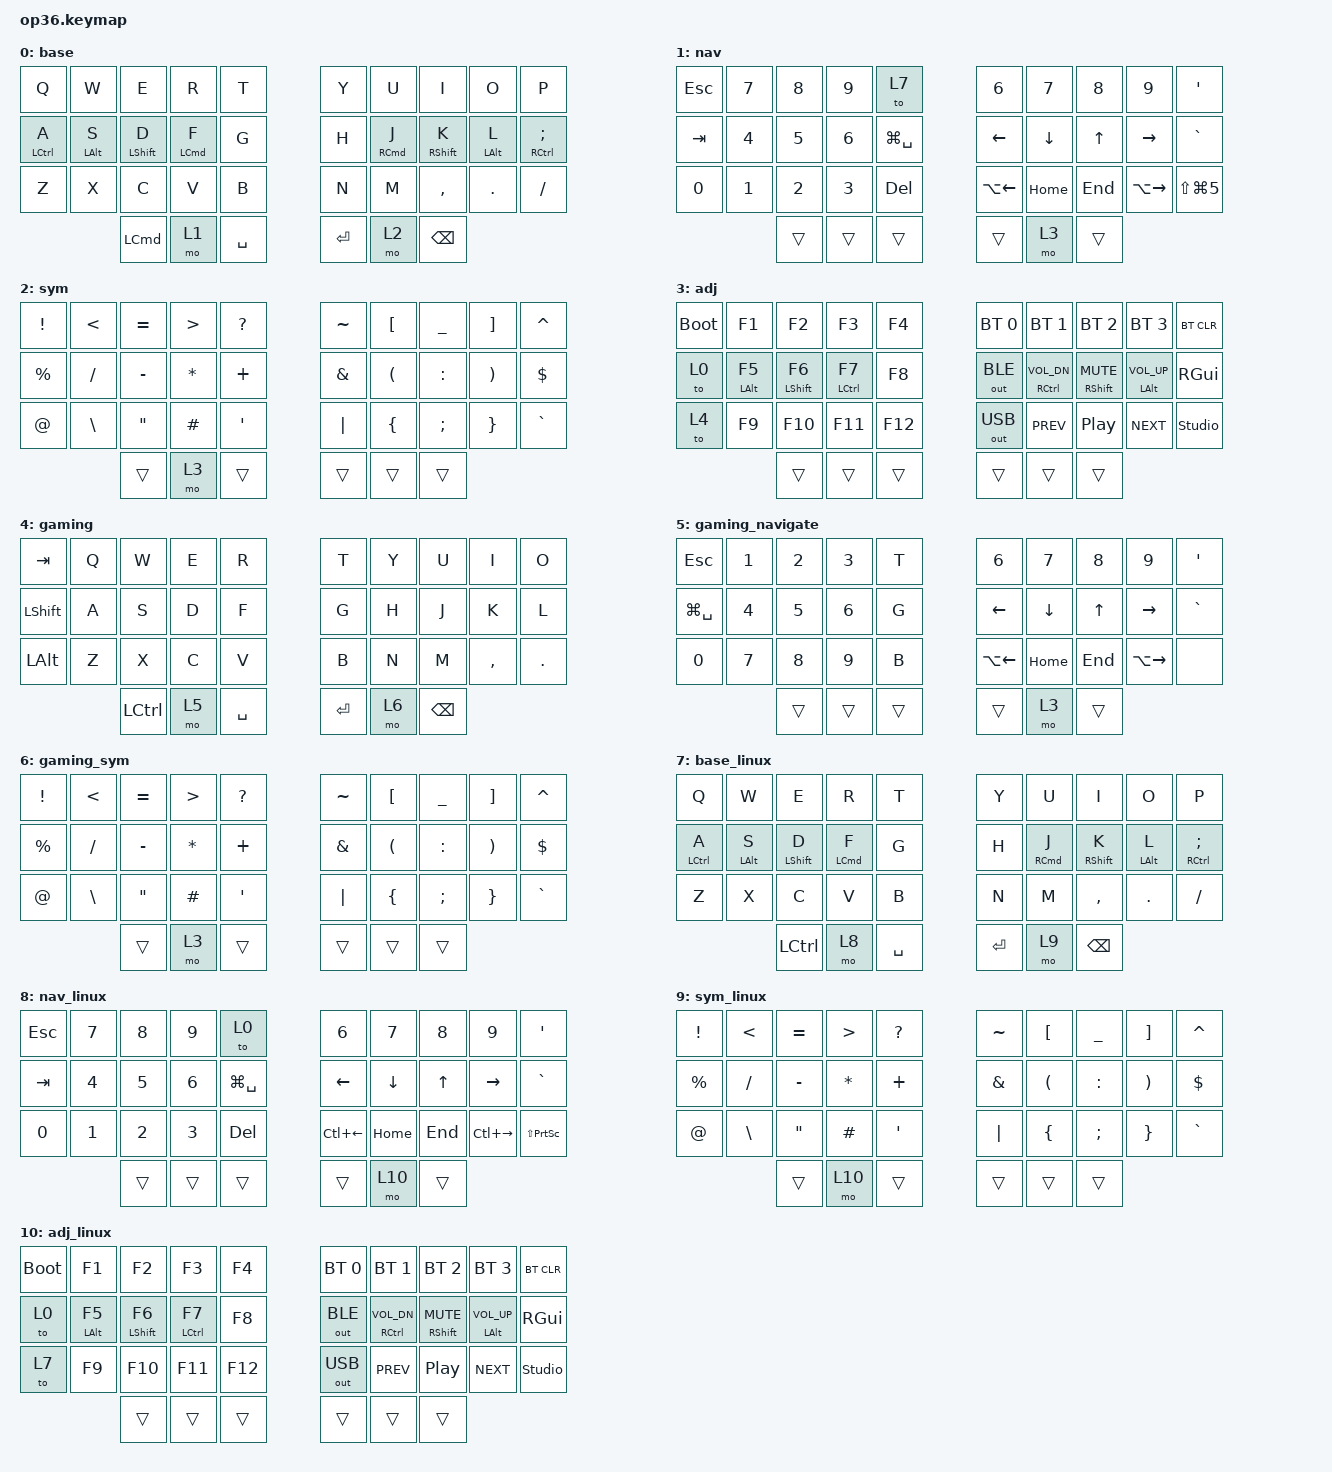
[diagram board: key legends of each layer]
#include <behaviors.dtsi>
#include <dt-bindings/zmk/bt.h>
#include <dt-bindings/zmk/keys.h>
#include <dt-bindings/zmk/outputs.h>

&mt {
    quick-tap-ms = <200>;
    flavor = "tap-preferred";
    require-prior-idle-ms = <125>;
};

/ {
    behaviors {
        hml: home_row_mod_left {
            compatible = "zmk,behavior-hold-tap";
            #binding-cells = <2>;
            flavor = "balanced";
            require-prior-idle-ms = <150>;
            tapping-term-ms = <280>;
            quick-tap-ms = <175>;
            bindings = <&kp>, <&kp>;

            hold-trigger-key-positions = <5 6 7 8 9 15 16 17 18 19 25 26 27 28 29 33 34 35>;
            hold-trigger-on-release;
        };

        hmr: home_row_mod_right {
            compatible = "zmk,behavior-hold-tap";
            #binding-cells = <2>;
            flavor = "balanced";
            require-prior-idle-ms = <150>;
            tapping-term-ms = <280>;
            quick-tap-ms = <175>;
            bindings = <&kp>, <&kp>;

            hold-trigger-key-positions = <0 1 2 3 4 10 11 12 13 14 20 21 22 23 24 30 31 32>;
            hold-trigger-on-release;
        };
    };

    combos {
        compatible = "zmk,combos";

        kha {
            bindings = <&kp LBKT>;
            key-positions = <6 7>;
        };

        hrdsgn {
            bindings = <&kp RBKT>;
            key-positions = <7 8>;
        };
    };

    keymap {
        compatible = "zmk,keymap";

        base {
            bindings = <
  &kp Q                &kp W        &kp E         &kp R                &kp T                          &kp Y  &kp U          &kp I         &kp O        &kp P
  &hml LEFT_CONTROL A  &hml LALT S  &hml LSHFT D  &hml LEFT_COMMAND F  &kp G                          &kp H  &hmr RCMD J    &hmr RSHFT K  &hmr LALT L  &hmr RCTRL SEMICOLON
  &kp Z                &kp X        &kp C         &kp V                &kp B                          &kp N  &kp M          &kp COMMA     &kp DOT      &kp SLASH
                                                  &kp LCMD             &mo 1  &kp SPACE    &kp ENTER  &mo 2  &kp BACKSPACE
            >;
        };

        nav {
            bindings = <
  &kp ESC  &kp N7  &kp N8  &kp N9  &to 7                            &kp N6          &kp N7          &kp N8        &kp N9               &kp SQT
  &kp TAB  &kp N4  &kp N5  &kp N6  &kp LG(SPACE)                    &kp LEFT_ARROW  &kp DOWN_ARROW  &kp UP_ARROW  &kp RIGHT            &kp GRAVE
  &kp N0   &kp N1  &kp N2  &kp N3  &kp DELETE                       &kp LA(LEFT)    &kp HOME        &kp END       &kp LA(RIGHT_ARROW)  &kp LS(LG(NUMBER_5))
                           &trans  &trans         &trans    &trans  &mo 3           &trans
            >;
        };

        sym {
            bindings = <
  &kp EXCLAMATION  &kp LT         &kp EQUAL          &kp GT        &kp QUESTION                    &kp TILDE      &kp LBKT              &kp UNDER      &kp RBKT               &kp CARET
  &kp PERCENT      &kp SLASH      &kp MINUS          &kp ASTERISK  &kp PLUS                        &kp AMPERSAND  &kp LEFT_PARENTHESIS  &kp COLON      &kp RIGHT_PARENTHESIS  &kp DOLLAR
  &kp AT_SIGN      &kp BACKSLASH  &kp DOUBLE_QUOTES  &kp HASH      &kp SQT                         &kp PIPE       &kp LEFT_BRACE        &kp SEMICOLON  &kp RIGHT_BRACE        &kp GRAVE
                                                     &trans        &mo 3         &trans    &trans  &trans         &trans
            >;
        };

        adj {
            bindings = <
  &bootloader  &kp F1        &kp F2         &kp F3         &kp F4                     &bt BT_SEL 0  &bt BT_SEL 1         &bt BT_SEL 2       &bt BT_SEL 3        &bt BT_CLR
  &to 0        &hml LALT F5  &hml LSHFT F6  &hml LCTRL F7  &kp F8                     &out OUT_BLE  &hmr RCTRL C_VOL_DN  &hmr RSHFT C_MUTE  &hmr LALT C_VOL_UP  &kp RGUI
  &to 4        &kp F9        &kp F10        &kp F11        &kp F12                    &out OUT_USB  &kp C_PREV           &kp C_PP           &kp C_NEXT          &studio_unlock
                                            &trans         &trans   &trans    &trans  &trans        &trans
            >;
        };

        gaming {
            bindings = <
  &kp TAB       &kp Q  &kp W  &kp E      &kp R                          &kp T  &kp Y          &kp U  &kp I      &kp O
  &kp LSHIFT    &kp A  &kp S  &kp D      &kp F                          &kp G  &kp H          &kp J  &kp K      &kp L
  &kp LEFT_ALT  &kp Z  &kp X  &kp C      &kp V                          &kp B  &kp N          &kp M  &kp COMMA  &kp DOT
                              &kp LCTRL  &mo 5  &kp SPACE    &kp ENTER  &mo 6  &kp BACKSPACE
            >;
        };

        gaming_navigate {
            bindings = <
  &kp ESC        &kp N1  &kp N2  &kp N3  &kp T                     &kp N6          &kp N7          &kp N8        &kp N9               &kp SQT
  &kp LG(SPACE)  &kp N4  &kp N5  &kp N6  &kp G                     &kp LEFT_ARROW  &kp DOWN_ARROW  &kp UP_ARROW  &kp RIGHT            &kp GRAVE
  &kp N0         &kp N7  &kp N8  &kp N9  &kp B                     &kp LA(LEFT)    &kp HOME        &kp END       &kp LA(RIGHT_ARROW)  &none
                                 &trans  &trans  &trans    &trans  &mo 3           &trans
            >;
        };

        gaming_sym {
            bindings = <
  &kp EXCLAMATION  &kp LT         &kp EQUAL          &kp GT        &kp QUESTION                    &kp TILDE      &kp LBKT              &kp UNDER      &kp RBKT               &kp CARET
  &kp PERCENT      &kp SLASH      &kp MINUS          &kp ASTERISK  &kp PLUS                        &kp AMPERSAND  &kp LEFT_PARENTHESIS  &kp COLON      &kp RIGHT_PARENTHESIS  &kp DOLLAR
  &kp AT_SIGN      &kp BACKSLASH  &kp DOUBLE_QUOTES  &kp HASH      &kp SQT                         &kp PIPE       &kp LEFT_BRACE        &kp SEMICOLON  &kp RIGHT_BRACE        &kp GRAVE
                                                     &trans        &mo 3         &trans    &trans  &trans         &trans
            >;
        };

        base_linux {
            bindings = <
  &kp Q                &kp W        &kp E         &kp R                &kp T                          &kp Y  &kp U          &kp I         &kp O        &kp P
  &hml LEFT_CONTROL A  &hml LALT S  &hml LSHFT D  &hml LEFT_COMMAND F  &kp G                          &kp H  &hmr RCMD J    &hmr RSHFT K  &hmr LALT L  &hmr RCTRL SEMICOLON
  &kp Z                &kp X        &kp C         &kp V                &kp B                          &kp N  &kp M          &kp COMMA     &kp DOT      &kp SLASH
                                                  &kp LCTRL            &mo 8  &kp SPACE    &kp ENTER  &mo 9  &kp BACKSPACE
            >;
        };

        nav_linux {
            bindings = <
  &kp ESC  &kp N7  &kp N8  &kp N9  &to 0                            &kp N6          &kp N7          &kp N8        &kp N9               &kp SQT
  &kp TAB  &kp N4  &kp N5  &kp N6  &kp LG(SPACE)                    &kp LEFT_ARROW  &kp DOWN_ARROW  &kp UP_ARROW  &kp RIGHT            &kp GRAVE
  &kp N0   &kp N1  &kp N2  &kp N3  &kp DELETE                       &kp LC(LEFT)    &kp HOME        &kp END       &kp LC(RIGHT_ARROW)  &kp LS(PRINTSCREEN)
                           &trans  &trans         &trans    &trans  &mo 10          &trans
            >;
        };

        sym_linux {
            bindings = <
  &kp EXCLAMATION  &kp LT         &kp EQUAL          &kp GT        &kp QUESTION                    &kp TILDE      &kp LBKT              &kp UNDER      &kp RBKT               &kp CARET
  &kp PERCENT      &kp SLASH      &kp MINUS          &kp ASTERISK  &kp PLUS                        &kp AMPERSAND  &kp LEFT_PARENTHESIS  &kp COLON      &kp RIGHT_PARENTHESIS  &kp DOLLAR
  &kp AT_SIGN      &kp BACKSLASH  &kp DOUBLE_QUOTES  &kp HASH      &kp SQT                         &kp PIPE       &kp LEFT_BRACE        &kp SEMICOLON  &kp RIGHT_BRACE        &kp GRAVE
                                                     &trans        &mo 10        &trans    &trans  &trans         &trans
            >;
        };

        adj_linux {
            bindings = <
  &bootloader  &kp F1        &kp F2         &kp F3         &kp F4                     &bt BT_SEL 0  &bt BT_SEL 1         &bt BT_SEL 2       &bt BT_SEL 3        &bt BT_CLR
  &to 0        &hml LALT F5  &hml LSHFT F6  &hml LCTRL F7  &kp F8                     &out OUT_BLE  &hmr RCTRL C_VOL_DN  &hmr RSHFT C_MUTE  &hmr LALT C_VOL_UP  &kp RGUI
  &to 7        &kp F9        &kp F10        &kp F11        &kp F12                    &out OUT_USB  &kp C_PREV           &kp C_PP           &kp C_NEXT          &studio_unlock
                                            &trans         &trans   &trans    &trans  &trans        &trans
            >;
        };
    };
};
